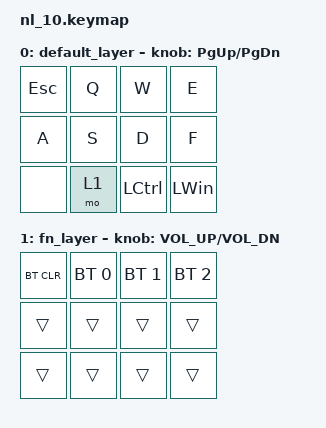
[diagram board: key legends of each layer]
/*
 * Copyright (c) 2021 Ninh.D.H
 *
 * SPDX-License-Identifier: MIT
 */

#include <behaviors.dtsi>
#include <dt-bindings/zmk/keys.h>
#include <dt-bindings/zmk/bt.h>
#include <dt-bindings/zmk/outputs.h>

/ {
	keymap0: keymap {
		compatible = "zmk,keymap";

		default_layer {
    // ---------------------------------------------------------------------------------------------------------
    // | ESC | F1  | F2  | F3  | F4  | F5  | F6  | F7  | F8  | F9  | F0  | F11 | F12 | PrtSc | Pause |  Delete |
    // |  ~  |  1  |  2  |  3  |  4  |  5  |  6  |  7  |  8  |  9  |  0  |  -  |  =  | Backspace | Back | Home |
    // | TAB  |  Q  |  W  |  E  |  R  |  T  |  Y  |  U  |  I  |  O  |  P  |  [  |  ]  |  \  |  Del  |  Page U  |
    // | CAPS  |  A  |  S  |  D  |  F  |  G  |  H  |  J  |  K  |  L  |  ;  |  '  |   ENTER  | Enter |  Page D  |
    // | SHIFT   |  Z  |  X  |  C  |  V  |  B  |  N  |  M  |  ,  |  .  |  /  | SHIFT | Null |   Up  |    End   |
    // | CTRL  |  WIN  |  ALT  | Fn | SPACE |   SPACE   | Menu | WIN | ALT |  CTRL  | Left  |  Down |  Right   |
    // ---------------------------------------------------------------------------------------------------------


		bindings = <
								&kp ESC   &kp Q     &kp W     &kp E
	        			&kp A     &kp S      &kp D      &kp F
								&none     &mo 1      &kp LCTRL  &kp LWIN 
							>;

		sensor-bindings = <&inc_dec_kp PG_UP PG_DN>;
		};

		fn_layer {
		bindings = <
							&bt BT_CLR   &bt BT_SEL 0     &bt BT_SEL 1    &bt BT_SEL 2
			        &trans    &trans     &trans     &trans 
			        &trans    &trans     &trans     &trans
							>;
		sensor-bindings = <&inc_dec_kp C_VOL_UP C_VOL_DN>;
		};
	};
};
